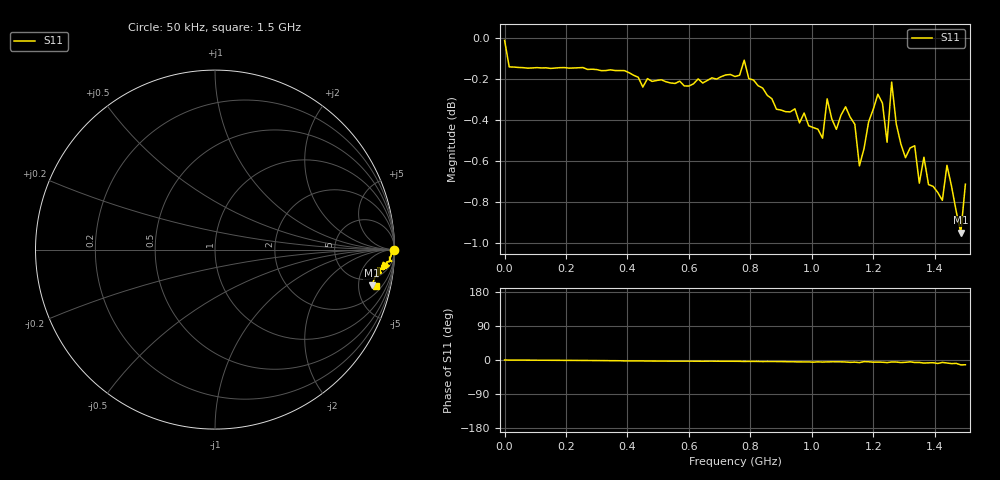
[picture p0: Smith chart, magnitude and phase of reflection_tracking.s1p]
! Created with skrf 1.8.0 (http://scikit-rf.org).
# Hz S RI R 50.0
!freq ReS11 ImS11
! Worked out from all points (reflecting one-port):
!   101 points, 50 kHz to 1.5 GHz, reference 50 ohm
!   lowest |S11| = -0.9 dB at 1.485 GHz (marker M1), VSWR 18.33, Z = 176 - j358 ohm
!   phase of S11 starts at -0 deg and turns -13 deg over the sweep
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50000  0.9984 -0.00139
1.950435e8  0.9832 -0.016
3.750375e8  0.9811 -0.0345
5.70031e8  0.9745 -0.0521
7.50025e8  0.9767 -0.0578
9.450185e8  0.9576 -0.0798
1.035016e9  0.941 -0.0895
1.050015e9  0.9627 -0.0834
1.095014e9  0.9541 -0.0804
1.125012e9  0.9509 -0.1028
1.155012e9  0.9241 -0.111
1.170011e9  0.937 -0.071
1.21501e9  0.9642 -0.094
1.245008e9  0.9364 -0.1118
1.260008e9  0.9713 -0.0889
1.290007e9  0.9356 -0.1107
1.320006e9  0.9368 -0.0789
1.335006e9  0.935 -0.1082
1.350005e9  0.9158 -0.1041
1.365004e9  0.9259 -0.1317
1.395004e9  0.9128 -0.1157
1.410003e9  0.9053 -0.1454
1.425002e9  0.9071 -0.1026
1.440002e9  0.9222 -0.1275
1.455002e9  0.9074 -0.1523
1.470001e9  0.8965 -0.1406
1.485e9  0.874 -0.1996
1.5e9  0.8991 -0.2007
